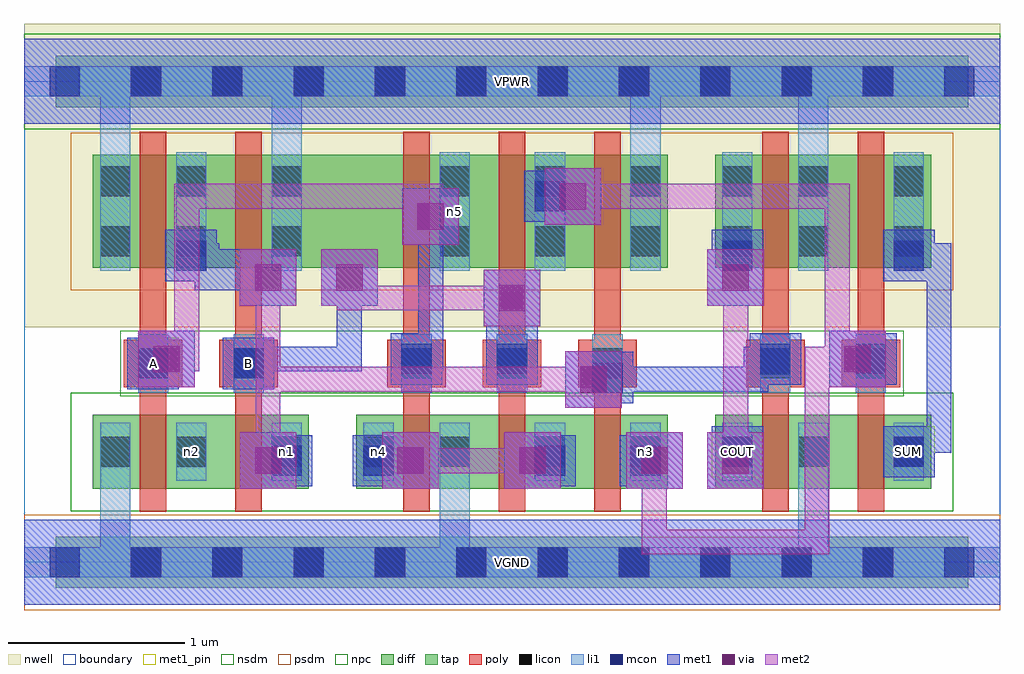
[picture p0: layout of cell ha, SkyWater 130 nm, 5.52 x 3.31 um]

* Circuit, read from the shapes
.subckt ha A B COUT SUM VGND VPWR n1 n2 n3 n4 n5
XM1 n2 A VGND VGND sky130_fd_pr__nfet_01v8 w=0.42 l=0.15
XM2 n1 B n2 VGND sky130_fd_pr__nfet_01v8 w=0.42 l=0.15
XM3 VGND A n4 VGND sky130_fd_pr__nfet_01v8 w=0.42 l=0.15
XM4 n4 B VGND VGND sky130_fd_pr__nfet_01v8 w=0.42 l=0.15
XM5 n3 n1 n4 VGND sky130_fd_pr__nfet_01v8 w=0.42 l=0.15
XM6 VGND n1 COUT VGND sky130_fd_pr__nfet_01v8 w=0.42 l=0.15
XM7 SUM n3 VGND VGND sky130_fd_pr__nfet_01v8 w=0.42 l=0.15
XM8 n1 A VPWR VPWR sky130_fd_pr__pfet_01v8 w=0.64 l=0.15
XM9 VPWR B n1 VPWR sky130_fd_pr__pfet_01v8 w=0.64 l=0.15
XM10 n5 A VPWR VPWR sky130_fd_pr__pfet_01v8 w=0.64 l=0.15
XM11 n3 B n5 VPWR sky130_fd_pr__pfet_01v8 w=0.64 l=0.15
XM12 VPWR n1 n3 VPWR sky130_fd_pr__pfet_01v8 w=0.64 l=0.15
XM13 VPWR n1 COUT VPWR sky130_fd_pr__pfet_01v8 w=0.64 l=0.15
XM14 SUM n3 VPWR VPWR sky130_fd_pr__pfet_01v8 w=0.64 l=0.15
.ends

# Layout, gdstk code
import gdstk
lib = gdstk.Library(unit=1e-6, precision=1e-09)
def R(c, l, rs):  # rectangles x0, y0, x1, y1
    for r in rs: c.add(gdstk.rectangle(r[:2], r[2:], *l))
def A(c, l, x, y, w, h, nx, ny, dx, dy):  # array of equal rectangles
    R(c, l, [(x+i*dx, y+j*dy, x+i*dx+w, y+j*dy+h) for i in range(nx) for j in range(ny)])
nwell = (64, 20)
diff = (65, 20)
tap = (65, 44)
poly = (66, 20)
licon = (66, 44)
li1 = (67, 20)
mcon = (67, 44)
met1_pin = (68, 16)
met1 = (68, 20)
via = (68, 44)
met2 = (69, 20)
nsdm = (93, 44)
psdm = (94, 20)
npc = (95, 20)
boundary = (235, 4)

c_ha = lib.new_cell('ha')
R(c_ha, nwell, [(0,1.33,5.52,3.045)])
R(c_ha, diff, [(0.39,0.415,1.61,0.835), (1.88,0.415,3.64,0.835), (3.91,0.415,5.13,0.835), (0.39,1.665,3.64,2.305), (3.91,1.665,5.13,2.305)])
R(c_ha, tap, [(0.18,-0.145,5.34,0.145), (0.18,2.575,5.34,2.865)])
A(c_ha, poly, 2.145, 0.285, 0.15, 2.15, 3, 1, 0.54, 0)
A(c_ha, poly, 2.055, 0.99, 0.33, 0.27, 3, 1, 0.54, 0)
R(c_ha, poly, [(0.655,0.285,0.805,2.435), (1.195,0.285,1.345,2.435), (4.175,0.285,4.325,2.435), (4.715,0.285,4.865,2.435), (0.565,0.99,0.895,1.26), (1.105,0.99,1.435,1.26), (4.085,0.99,4.415,1.26), (4.625,0.99,4.955,1.26)])
A(c_ha, licon, 0.605, -0.085, 0.17, 0.17, 10, 2, 0.46, 2.72)
A(c_ha, licon, 2.35, 0.54, 0.17, 0.17, 3, 2, 0.54, 1.19)
A(c_ha, licon, 2.135, 1.04, 0.17, 0.17, 3, 1, 0.54, 0)
A(c_ha, licon, 2.35, 2.07, 0.17, 0.17, 3, 1, 0.54, 0)
R(c_ha, licon, [(0.43,0.54,0.6,0.71), (0.86,0.54,1.03,0.71), (1.4,0.54,1.57,0.71), (1.92,0.54,2.09,0.71), (3.95,0.54,4.12,0.71), (4.38,0.54,4.55,0.71), (4.92,0.54,5.09,0.71), (0.645,1.04,0.815,1.21), (1.185,1.04,1.355,1.21), (4.165,1.04,4.335,1.21), (4.705,1.04,4.875,1.21), (0.43,1.73,0.6,1.9), (0.86,1.73,1.03,1.9), (1.4,1.73,1.57,1.9), (3.95,1.73,4.12,1.9), (4.38,1.73,4.55,1.9), (4.92,1.73,5.09,1.9), (0.43,2.07,0.6,2.24), (0.86,2.07,1.03,2.24), (1.4,2.07,1.57,2.24), (3.95,2.07,4.12,2.24), (4.38,2.07,4.55,2.24), (4.92,2.07,5.09,2.24)])
A(c_ha, li1, 2.35, 0.46, 0.17, 0.33, 3, 1, 0.54, 0)
A(c_ha, li1, 2.135, 0.96, 0.17, 0.33, 3, 1, 0.54, 0)
A(c_ha, li1, 2.35, 1.65, 0.17, 0.67, 3, 1, 0.54, 0)
R(c_ha, li1, [(0,-0.085,5.52,0.085), (0.43,-0.085,0.6,0.79), (2.35,-0.085,2.52,0.79), (4.38,-0.085,4.55,0.79), (0.43,0.46,0.6,0.79), (0.86,0.46,1.03,0.79), (1.4,0.46,1.57,0.79), (1.92,0.46,2.09,0.79), (3.95,0.46,4.12,0.79), (4.38,0.46,4.55,0.79), (4.92,0.46,5.09,0.79), (0.645,0.96,0.815,1.29), (1.185,0.96,1.355,1.29), (4.165,0.96,4.335,1.29), (4.705,0.96,4.875,1.29), (0.43,1.65,0.6,2.32), (0.43,1.65,0.6,2.805), (0.86,1.65,1.03,2.32), (1.4,1.65,1.57,2.32), (1.4,1.65,1.57,2.805), (3.43,1.65,3.6,2.805), (3.95,1.65,4.12,2.32), (4.38,1.65,4.55,2.32), (4.38,1.65,4.55,2.805), (4.92,1.65,5.09,2.32), (0,2.635,5.52,2.805)])
A(c_ha, mcon, 0.145, -0.085, 0.17, 0.17, 12, 2, 0.46, 2.72)
R(c_ha, mcon, [(1.4,0.49,1.57,0.66), (1.92,0.49,2.09,0.66), (2.89,0.49,3.06,0.66), (3.43,0.49,3.6,0.66), (3.95,0.54,4.12,0.71), (4.92,0.54,5.09,0.71), (3.215,0.96,3.385,1.13), (0.645,1.04,0.815,1.21), (1.185,1.04,1.355,1.21), (2.135,1.065,2.305,1.235), (2.675,1.065,2.845,1.235), (4.165,1.065,4.335,1.235), (4.705,1.065,4.875,1.235), (0.86,1.65,1.03,1.82), (3.95,1.65,4.12,1.82), (4.92,1.65,5.09,1.82), (2.89,1.985,3.06,2.155)])
R(c_ha, met1_pin, [(0,-0.24,5.52,0.24), (3.89,0.48,4.18,0.77), (4.86,0.48,5.15,0.77), (0.585,0.98,0.875,1.27), (1.125,0.98,1.415,1.27), (0,2.48,5.52,2.96)])
A(c_ha, met1, 2.025, 0.415, 0.32, 0.32, 3, 1, 0.69, 0)
R(c_ha, met1, [(0,-0.24,5.52,0.24), (1.22,0.415,1.54,0.735), (3.865,0.415,4.185,0.735), (1.34,0.43,1.63,0.72), (1.86,0.43,2.15,0.72), (2.83,0.43,3.12,0.72), (3.37,0.43,3.66,0.72), (3.89,0.48,4.18,0.77), (4.86,0.48,5.15,0.77), (1.31,0.505,1.555,0.645), (1.935,0.505,2.255,0.645), (2.805,0.505,3.045,0.645), (3.445,0.505,3.635,0.645), (3.955,0.505,4.095,0.645), (4.99,0.62,5.13,0.76), (4.99,0.62,5.245,0.76), (5.105,0.62,5.245,1.68), (3.06,0.875,3.38,1.195), (3.155,0.9,3.445,1.19), (3.15,0.965,3.29,1.115), (3.15,0.965,4.21,1.105), (4.07,0.965,4.21,1.22), (3.15,0.975,3.37,1.115), (0.585,0.98,0.875,1.27), (1.125,0.98,1.415,1.27), (0.645,0.99,0.965,1.31), (4.555,0.99,4.875,1.31), (2.075,1.005,2.365,1.295), (2.615,1.005,2.905,1.295), (4.105,1.005,4.395,1.295), (4.645,1.005,4.935,1.295), (0.735,1.08,0.875,1.22), (1.195,1.08,1.335,1.22), (1.195,1.08,1.91,1.22), (1.77,1.08,1.91,1.68), (2.15,1.08,2.37,1.22), (2.23,1.08,2.37,2.025), (2.69,1.08,2.83,1.565), (4.07,1.08,4.32,1.22), (4.645,1.08,4.86,1.22), (2.615,1.295,2.905,1.335), (2.6,1.335,2.92,1.655), (1.22,1.45,1.54,1.77), (1.68,1.45,2,1.77), (3.865,1.45,4.185,1.77), (0.965,1.54,1.105,1.805), (0.965,1.54,1.45,1.68), (1.105,1.54,1.22,1.77), (3.955,1.54,4.095,1.805), (5.105,1.54,5.245,1.805), (0.8,1.59,1.09,1.88), (1.09,1.59,1.22,1.77), (3.89,1.59,4.18,1.88), (4.86,1.59,5.15,1.88), (0.875,1.665,1.105,1.805), (1.105,1.665,1.22,1.77), (3.955,1.665,4.105,1.805), (4.935,1.665,5.245,1.805), (2.14,1.795,2.46,2.115), (2.945,1.91,3.265,2.23), (2.83,1.925,3.12,2.215), (2.905,2,3.175,2.14), (0,2.48,5.52,2.96)])
A(c_ha, via, 2.11, 0.5, 0.15, 0.15, 3, 1, 0.69, 0)
R(c_ha, via, [(1.305,0.5,1.455,0.65), (3.95,0.5,4.1,0.65), (3.145,0.96,3.295,1.11), (0.73,1.075,0.88,1.225), (4.64,1.075,4.79,1.225), (2.685,1.42,2.835,1.57), (1.305,1.535,1.455,1.685), (1.765,1.535,1.915,1.685), (3.95,1.535,4.1,1.685), (2.225,1.88,2.375,2.03), (3.03,1.995,3.18,2.145)])
A(c_ha, met2, 2.025, 0.415, 0.32, 0.32, 3, 1, 0.69, 0)
R(c_ha, met2, [(3.495,0.045,3.635,0.645), (3.495,0.045,4.555,0.185), (4.415,0.045,4.555,1.22), (1.22,0.415,1.54,0.735), (3.865,0.415,4.185,0.735), (1.31,0.505,1.45,1.68), (2.115,0.505,2.945,0.645), (3.955,0.505,4.095,1.68), (3.06,0.875,3.38,1.195), (1.31,0.965,3.29,1.105), (0.645,0.99,0.965,1.31), (4.555,0.99,4.875,1.31), (0.735,1.08,0.99,1.22), (0.85,1.08,0.99,2.14), (4.415,1.08,4.785,1.22), (4.53,1.08,4.67,2.14), (2.6,1.335,2.92,1.655), (1.77,1.425,2.83,1.565), (1.77,1.425,1.91,1.68), (1.22,1.45,1.54,1.77), (1.68,1.45,2,1.77), (3.865,1.45,4.185,1.77), (2.14,1.795,2.46,2.115), (2.23,1.885,2.37,2.14), (2.945,1.91,3.265,2.23), (0.85,2,2.37,2.14), (3.035,2,4.67,2.14)])
R(c_ha, nsdm, [(0.265,0.29,5.255,0.96), (0,2.45,5.52,2.99)])
R(c_ha, psdm, [(0,-0.27,5.52,0.27), (0.265,1.54,5.255,2.43)])
R(c_ha, npc, [(0.545,0.94,4.975,1.31)])
R(c_ha, boundary, [(0,0,5.52,2.72)])
c_ha.add(gdstk.Label('n2', (0.945,0.625), layer=67, texttype=5))
c_ha.add(gdstk.Label('n1', (1.485,0.625), layer=67, texttype=5))
c_ha.add(gdstk.Label('n4', (2.005,0.625), layer=67, texttype=5))
c_ha.add(gdstk.Label('n3', (3.515,0.625), layer=67, texttype=5))
c_ha.add(gdstk.Label('n5', (2.435,1.985), layer=67, texttype=5))
c_ha.add(gdstk.Label('A', (0.73,1.125), layer=68, texttype=5))
c_ha.add(gdstk.Label('B', (1.27,1.125), layer=68, texttype=5))
c_ha.add(gdstk.Label('COUT', (4.035,0.625), layer=68, texttype=5))
c_ha.add(gdstk.Label('SUM', (5.005,0.625), layer=68, texttype=5))
c_ha.add(gdstk.Label('VPWR', (2.76,2.72), layer=68, texttype=5))
c_ha.add(gdstk.Label('VGND', (2.76,0), layer=68, texttype=5))
c_ha.add(gdstk.Label('A', (0.73,1.125), layer=68, texttype=16))
c_ha.add(gdstk.Label('B', (1.27,1.125), layer=68, texttype=16))
c_ha.add(gdstk.Label('COUT', (4.035,0.625), layer=68, texttype=16))
c_ha.add(gdstk.Label('SUM', (5.005,0.625), layer=68, texttype=16))
c_ha.add(gdstk.Label('VPWR', (2.76,2.72), layer=68, texttype=16))
c_ha.add(gdstk.Label('VGND', (2.76,0), layer=68, texttype=16))

lib.write_gds('ha.gds')
